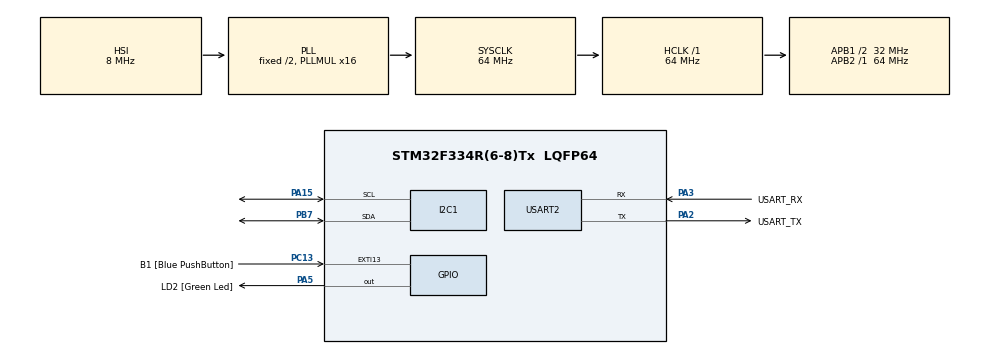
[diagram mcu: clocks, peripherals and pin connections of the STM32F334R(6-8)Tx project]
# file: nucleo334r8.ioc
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Mcu.Family=STM32F3
Mcu.Name=STM32F334R(6-8)Tx
Mcu.Package=LQFP64
NVIC.PriorityGroup=NVIC_PRIORITYGROUP_0
PA13.GPIO_Label=TMS
PA13.Mode=Serial_Wire
PA13.Signal=SYS_JTMS-SWDIO
PA14.GPIO_Label=TCK
PA14.Mode=Serial_Wire
PA14.Signal=SYS_JTCK-SWCLK
PA15.Mode=I2C
PA15.Signal=I2C1_SCL
PA2.GPIO_Label=USART_TX
PA2.Mode=Asynchronous
PA2.Signal=USART2_TX
PA3.GPIO_Label=USART_RX
PA3.Mode=Asynchronous
PA3.Signal=USART2_RX
PA5.GPIO_Label=LD2 [Green Led]
PA5.Signal=GPIO_Output
PB3.GPIO_Label=SWO
PB3.Signal=SYS_JTDO-TRACESWO
PB7.Mode=I2C
PB7.Signal=I2C1_SDA
PC13.GPIO_Label=B1 [Blue PushButton]
PC13.GPIO_ModeDefaultEXTI=GPIO_MODE_IT_FALLING
PC13.Signal=GPXTI13
PC14\ /\ OSC32_IN.Mode=LSE-External-Oscillator
PC14\ /\ OSC32_IN.Signal=RCC_OSC32_IN
PC15\ /\ OSC32_OUT.GPIO_Label=RCC_OSC32_OUT
PC15\ /\ OSC32_OUT.Mode=LSE-External-Oscillator
PC15\ /\ OSC32_OUT.Signal=RCC_OSC32_OUT
PF0\ /\ OSC_IN.Mode=HSE-External-Clock-Source
PF0\ /\ OSC_IN.Signal=RCC_OSC_IN
PF1\ /\ OSC_OUT.Signal=RCC_OSC_OUT
ProjectManager.HeapSize=0x200
ProjectManager.StackSize=0x400
ProjectManager.TargetToolchain=STM32CubeIDE
RCC.AHBFreq_Value=64000000
RCC.APB1CLKDivider=RCC_HCLK_DIV2
RCC.APB1Freq_Value=32000000
RCC.APB1TimFreq_Value=64000000
RCC.APB2Freq_Value=64000000
RCC.APB2TimFreq_Value=64000000
RCC.CortexFreq_Value=64000000
RCC.FLatency-AdvancedSettings=FLASH_LATENCY_2
RCC.HCLKFreq_Value=64000000
RCC.HSE_VALUE=8000000
RCC.HSI_VALUE=8000000
RCC.PLLMUL=RCC_PLL_MUL16
RCC.SYSCLKFreq_VALUE=64000000
RCC.SYSCLKSourceVirtual=RCC_SYSCLKSOURCE_PLLCLK
USART2.VirtualMode-Asynchronous=VM_ASYNC
board=NUCLEO-F334R8

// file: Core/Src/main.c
/* USER CODE BEGIN Header */
/**
  ******************************************************************************
  * @file           : main.c
  * @brief          : Main program body
  ******************************************************************************
  * @attention
  *
  * Copyright (c) 2024 STMicroelectronics.
  * All rights reserved.
  *
  * This software is licensed under terms that can be found in the LICENSE file
  * in the root directory of this software component.
  * If no LICENSE file comes with this software, it is provided AS-IS.
  *
  ******************************************************************************
  */
/* USER CODE END Header */
#include "main.h"

/* USER CODE BEGIN Includes */
#include "stdio.h"
#include "string.h"
/* USER CODE END Includes */

/* USER CODE BEGIN PD */
/* USER CODE BEGIN PD */
#define TCS34725_ADDRESS          (0x29 << 1) /* I2C address */
#define TCS34725_COMMAND_BIT      (0x80)      /* Command bit */
#define TCS34725_ENABLE           (0x00)      /* Enable register */
#define TCS34725_ENABLE_AEN       (0x02)      /* RGBC Enable */
#define TCS34725_ENABLE_PON       (0x01)      /* Power on */
#define TCS34725_ATIME            (0x01)      /* Integration time */
#define TCS34725_CONTROL          (0x0F)      /* Set the gain level */
#define TCS34725_ID               (0x12)
#define TCS34725_CDATAL           (0x14)      /* Clear channel data */
#define TCS34725_RDATAL           (0x16)      /* Red channel data */
#define TCS34725_GDATAL           (0x18)      /* Green channel data */
#define TCS34725_BDATAL           (0x1A)      /* Blue channel data */
#define TCS34725_INTEGRATIONTIME_50MS   0xEB  /* 50ms  - 20 cycles */
#define TCS34725_GAIN_4X                0x01  /* 4x gain  */
/* USER CODE END PD */

/* USER CODE END PD */

I2C_HandleTypeDef hi2c1;

UART_HandleTypeDef huart2;

void SystemClock_Config(void);
static void MX_GPIO_Init(void);
static void MX_USART2_UART_Init(void);
static void MX_I2C1_Init(void);

int main(void)
{

  /* MCU Configuration--------------------------------------------------------*/

  /* Reset of all peripherals, Initializes the Flash interface and the Systick. */
  HAL_Init();

  /* Configure the system clock */
  SystemClock_Config();

  /* Initialize all configured peripherals */
  MX_GPIO_Init();
  MX_USART2_UART_Init();
  MX_I2C1_Init();
  /* USER CODE BEGIN 2 */
  uint16_t red = 0, green = 0, blue = 0;

  char startMsg[] = "Program started.\n";
  HAL_UART_Transmit(&huart2, (uint8_t*)startMsg, strlen(startMsg), 100);

  // Инициализация датчика с логами
  HAL_UART_Transmit(&huart2, (uint8_t*)"Enabling sensor...\n", 19, 100);
  enableSensor();
  HAL_UART_Transmit(&huart2, (uint8_t*)"Sensor enabled.\n", 16, 100);
  /* USER CODE END 2 */

  /* Infinite loop */
  while (1)
  {

    /* USER CODE BEGIN 3 */
	  getRGB(&red, &green, &blue);
	  char buffer[50];
	  snprintf(buffer, sizeof(buffer), "R:%d G:%d B:%d\n", red, green, blue);
	  HAL_UART_Transmit(&huart2, (uint8_t*)buffer, strlen(buffer), 100);
	  HAL_Delay(500);
  }
  /* USER CODE END 3 */
}

void SystemClock_Config(void)
{
  RCC_OscInitTypeDef RCC_OscInitStruct = {0};
  RCC_ClkInitTypeDef RCC_ClkInitStruct = {0};
  RCC_PeriphCLKInitTypeDef PeriphClkInit = {0};

  /** Initializes the RCC Oscillators according to the specified parameters
  * in the RCC_OscInitTypeDef structure.
  */
  RCC_OscInitStruct.OscillatorType = RCC_OSCILLATORTYPE_HSI;
  RCC_OscInitStruct.HSIState = RCC_HSI_ON;
  RCC_OscInitStruct.HSICalibrationValue = RCC_HSICALIBRATION_DEFAULT;
  RCC_OscInitStruct.PLL.PLLState = RCC_PLL_ON;
  RCC_OscInitStruct.PLL.PLLSource = RCC_PLLSOURCE_HSI;
  RCC_OscInitStruct.PLL.PLLMUL = RCC_PLL_MUL16;
  if (HAL_RCC_OscConfig(&RCC_OscInitStruct) != HAL_OK)
  {
    Error_Handler();
  }

  /** Initializes the CPU, AHB and APB buses clocks
  */
  RCC_ClkInitStruct.ClockType = RCC_CLOCKTYPE_HCLK|RCC_CLOCKTYPE_SYSCLK
                              |RCC_CLOCKTYPE_PCLK1|RCC_CLOCKTYPE_PCLK2;
  RCC_ClkInitStruct.SYSCLKSource = RCC_SYSCLKSOURCE_PLLCLK;
  RCC_ClkInitStruct.AHBCLKDivider = RCC_SYSCLK_DIV1;
  RCC_ClkInitStruct.APB1CLKDivider = RCC_HCLK_DIV2;
  RCC_ClkInitStruct.APB2CLKDivider = RCC_HCLK_DIV1;

  if (HAL_RCC_ClockConfig(&RCC_ClkInitStruct, FLASH_LATENCY_2) != HAL_OK)
  {
    Error_Handler();
  }
  PeriphClkInit.PeriphClockSelection = RCC_PERIPHCLK_I2C1;
  PeriphClkInit.I2c1ClockSelection = RCC_I2C1CLKSOURCE_HSI;
  if (HAL_RCCEx_PeriphCLKConfig(&PeriphClkInit) != HAL_OK)
  {
    Error_Handler();
  }
}

static void MX_I2C1_Init(void)
{

  hi2c1.Instance = I2C1;
  hi2c1.Init.Timing = 0x2000090E;
  hi2c1.Init.OwnAddress1 = 0;
  hi2c1.Init.AddressingMode = I2C_ADDRESSINGMODE_7BIT;
  hi2c1.Init.DualAddressMode = I2C_DUALADDRESS_DISABLE;
  hi2c1.Init.OwnAddress2 = 0;
  hi2c1.Init.OwnAddress2Masks = I2C_OA2_NOMASK;
  hi2c1.Init.GeneralCallMode = I2C_GENERALCALL_DISABLE;
  hi2c1.Init.NoStretchMode = I2C_NOSTRETCH_DISABLE;
  if (HAL_I2C_Init(&hi2c1) != HAL_OK)
  {
    Error_Handler();
  }

  /** Configure Analogue filter
  */
  if (HAL_I2CEx_ConfigAnalogFilter(&hi2c1, I2C_ANALOGFILTER_ENABLE) != HAL_OK)
  {
    Error_Handler();
  }

  /** Configure Digital filter
  */
  if (HAL_I2CEx_ConfigDigitalFilter(&hi2c1, 0) != HAL_OK)
  {
    Error_Handler();
  }

}

static void MX_USART2_UART_Init(void)
{

  huart2.Instance = USART2;
  huart2.Init.BaudRate = 38400;
  huart2.Init.WordLength = UART_WORDLENGTH_8B;
  huart2.Init.StopBits = UART_STOPBITS_1;
  huart2.Init.Parity = UART_PARITY_NONE;
  huart2.Init.Mode = UART_MODE_TX_RX;
  huart2.Init.HwFlowCtl = UART_HWCONTROL_NONE;
  huart2.Init.OverSampling = UART_OVERSAMPLING_16;
  huart2.Init.OneBitSampling = UART_ONE_BIT_SAMPLE_DISABLE;
  huart2.AdvancedInit.AdvFeatureInit = UART_ADVFEATURE_NO_INIT;
  if (HAL_UART_Init(&huart2) != HAL_OK)
  {
    Error_Handler();
  }

}

static void MX_GPIO_Init(void)
{
  GPIO_InitTypeDef GPIO_InitStruct = {0};

  /* GPIO Ports Clock Enable */
  __HAL_RCC_GPIOC_CLK_ENABLE();
  __HAL_RCC_GPIOF_CLK_ENABLE();
  __HAL_RCC_GPIOA_CLK_ENABLE();
  __HAL_RCC_GPIOB_CLK_ENABLE();

  /*Configure GPIO pin Output Level */
  HAL_GPIO_WritePin(LD2_GPIO_Port, LD2_Pin, GPIO_PIN_RESET);

  /*Configure GPIO pin : B1_Pin */
  GPIO_InitStruct.Pin = B1_Pin;
  GPIO_InitStruct.Mode = GPIO_MODE_IT_FALLING;
  GPIO_InitStruct.Pull = GPIO_NOPULL;
  HAL_GPIO_Init(B1_GPIO_Port, &GPIO_InitStruct);

  /*Configure GPIO pin : LD2_Pin */
  GPIO_InitStruct.Pin = LD2_Pin;
  GPIO_InitStruct.Mode = GPIO_MODE_OUTPUT_PP;
  GPIO_InitStruct.Pull = GPIO_NOPULL;
  GPIO_InitStruct.Speed = GPIO_SPEED_FREQ_LOW;
  HAL_GPIO_Init(LD2_GPIO_Port, &GPIO_InitStruct);

}

/* USER CODE BEGIN 4 */
/* USER CODE BEGIN 4 */
void write8(uint8_t reg, uint32_t value) {
    uint8_t txBuffer[2];
    txBuffer[0] = (TCS34725_COMMAND_BIT | reg);
    txBuffer[1] = (value & 0xFF);
    HAL_I2C_Master_Transmit(&hi2c1, TCS34725_ADDRESS, txBuffer, 2, 100);
}

uint8_t read8(uint8_t reg) {
    uint8_t buffer[1];
    buffer[0] = (TCS34725_COMMAND_BIT | reg);
    HAL_I2C_Master_Transmit(&hi2c1, TCS34725_ADDRESS, buffer, 1, 100);
    HAL_I2C_Master_Receive(&hi2c1, TCS34725_ADDRESS, buffer, 1, 100);
    return buffer[0];
}

uint16_t read16(uint8_t reg) {
    uint8_t txBuffer[1], rxBuffer[2];
    txBuffer[0] = (TCS34725_COMMAND_BIT | reg);
    HAL_I2C_Master_Transmit(&hi2c1, TCS34725_ADDRESS, txBuffer, 1, 100);
    HAL_I2C_Master_Receive(&hi2c1, TCS34725_ADDRESS, rxBuffer, 2, 100);
    return (rxBuffer[1] << 8) | rxBuffer[0];
}

void enableSensor(void) {
    write8(TCS34725_ENABLE, TCS34725_ENABLE_PON);
    HAL_Delay(3);
    write8(TCS34725_ENABLE, TCS34725_ENABLE_PON | TCS34725_ENABLE_AEN);
    HAL_Delay(50);
}

void getRGB(uint16_t *r, uint16_t *g, uint16_t *b) {
    *r = read16(TCS34725_RDATAL);
    *g = read16(TCS34725_GDATAL);
    *b = read16(TCS34725_BDATAL);
}
/* USER CODE END 4 */

/* USER CODE END 4 */

void Error_Handler(void)
{
  __disable_irq();
  while (1)
  {
  }
}
